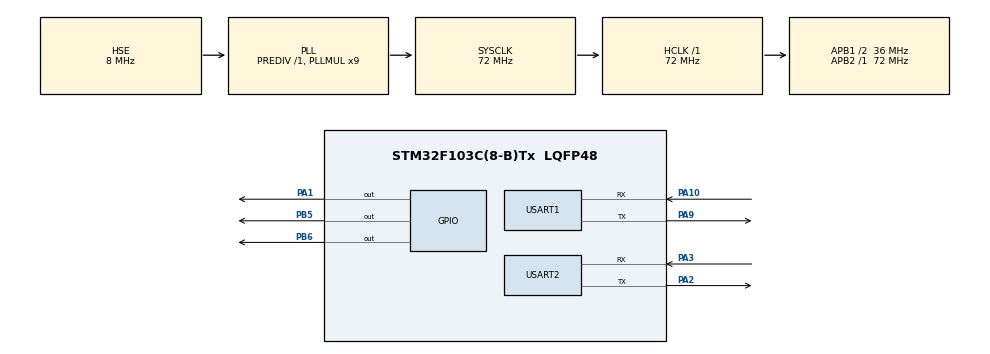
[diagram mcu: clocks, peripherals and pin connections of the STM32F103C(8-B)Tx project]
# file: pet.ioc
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Mcu.Family=STM32F1
Mcu.Name=STM32F103C(8-B)Tx
Mcu.Package=LQFP48
NVIC.PriorityGroup=NVIC_PRIORITYGROUP_4
PA1.PinState=GPIO_PIN_SET
PA1.Signal=GPIO_Output
PA10.Mode=Asynchronous
PA10.Signal=USART1_RX
PA13.Mode=Serial_Wire
PA13.Signal=SYS_JTMS-SWDIO
PA14.Mode=Serial_Wire
PA14.Signal=SYS_JTCK-SWCLK
PA2.Mode=Asynchronous
PA2.Signal=USART2_TX
PA3.Mode=Asynchronous
PA3.Signal=USART2_RX
PA9.Mode=Asynchronous
PA9.Signal=USART1_TX
PB5.GPIO_ModeDefaultOutputPP=GPIO_MODE_OUTPUT_OD
PB5.GPIO_PuPd=GPIO_PULLUP
PB5.GPIO_Speed=GPIO_SPEED_FREQ_MEDIUM
PB5.PinState=GPIO_PIN_SET
PB5.Signal=GPIO_Output
PB6.GPIO_ModeDefaultOutputPP=GPIO_MODE_OUTPUT_OD
PB6.GPIO_PuPd=GPIO_PULLUP
PB6.GPIO_Speed=GPIO_SPEED_FREQ_MEDIUM
PB6.PinState=GPIO_PIN_SET
PB6.Signal=GPIO_Output
PD0-OSC_IN.Mode=HSE-External-Oscillator
PD0-OSC_IN.Signal=RCC_OSC_IN
PD1-OSC_OUT.Mode=HSE-External-Oscillator
PD1-OSC_OUT.Signal=RCC_OSC_OUT
ProjectManager.HeapSize=0x200
ProjectManager.StackSize=0x400
ProjectManager.TargetToolchain=MDK-ARM V5.32
RCC.AHBFreq_Value=72000000
RCC.APB1CLKDivider=RCC_HCLK_DIV2
RCC.APB1Freq_Value=36000000
RCC.APB1TimFreq_Value=72000000
RCC.APB2Freq_Value=72000000
RCC.APB2TimFreq_Value=72000000
RCC.HCLKFreq_Value=72000000
RCC.PLLMUL=RCC_PLL_MUL9
RCC.PLLSourceVirtual=RCC_PLLSOURCE_HSE
RCC.SYSCLKFreq_VALUE=72000000
RCC.SYSCLKSource=RCC_SYSCLKSOURCE_PLLCLK
RCC.USBFreq_Value=72000000
TIM2.Prescaler=72-1
USART1.VirtualMode=VM_ASYNC
USART2.VirtualMode=VM_ASYNC
VP_TIM2_VS_ClockSourceINT.Mode=Internal
board=custom

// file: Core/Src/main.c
/* USER CODE BEGIN Header */
/**
  ******************************************************************************
  * @file           : main.c
  * @brief          : Main program body
  ******************************************************************************
  * @attention
  *
  * Copyright (c) 2026 STMicroelectronics.
  * All rights reserved.
  *
  * This software is licensed under terms that can be found in the LICENSE file
  * in the root directory of this software component.
  * If no LICENSE file comes with this software, it is provided AS-IS.
  *
  ******************************************************************************
  */
/* USER CODE END Header */
#include "main.h"
#include "tim.h"
#include "usart.h"
#include "gpio.h"

/* USER CODE BEGIN Includes */
#include "dht11.h"
#include "oled.h"
#include <stdio.h>
/* USER CODE END Includes */

void SystemClock_Config(void);

int main(void)
{

  /* USER CODE BEGIN 1 */
  uint8_t oled_ready;
  /* USER CODE END 1 */

  /* MCU Configuration--------------------------------------------------------*/

  /* Reset of all peripherals, Initializes the Flash interface and the Systick. */
  HAL_Init();

  /* Configure the system clock */
  SystemClock_Config();

  /* Initialize all configured peripherals */
  MX_GPIO_Init();
  MX_USART1_UART_Init();
  MX_TIM2_Init();
  MX_USART2_UART_Init();
  /* USER CODE BEGIN 2 */
  HAL_TIM_Base_Start(&htim2);
  oled_ready = OLED_Init();
  HAL_Delay(2000); // Wait for DHT11 to stabilize
  /* USER CODE END 2 */

  /* Infinite loop */
  while (1)
  {

    /* USER CODE BEGIN 3 */
    uint8_t temperature = 0;
    uint8_t humidity = 0;
    uint8_t valid;
    char msg[32];
    int len;

    valid = DHT11_READ(&temperature, &humidity);
    if(valid == 1)
    {
        len = snprintf(msg, sizeof(msg), "d:%u,%u\r\n",(unsigned int) temperature,(unsigned int) humidity);
        HAL_UART_Transmit(&huart2,(uint8_t*)msg, (uint16_t)len, 100);
    }
    else
    {
        uint8_t error_msg[] = "DHT11 Read Error\r\n";

        HAL_UART_Transmit(&huart2, error_msg, sizeof(error_msg) - 1, 100);
    }

    if (!oled_ready) oled_ready = OLED_Init();
    if (oled_ready)
        oled_ready = OLED_ShowReadings(temperature, humidity, valid);
    if (!oled_ready)
    {
        uint8_t oled_error[] = "OLED I2C Error\r\n";
        HAL_UART_Transmit(&huart2, oled_error, sizeof(oled_error) - 1, 100);
    }
    HAL_Delay(2000);
  }
  /* USER CODE END 3 */
}

void SystemClock_Config(void)
{
  RCC_OscInitTypeDef RCC_OscInitStruct = {0};
  RCC_ClkInitTypeDef RCC_ClkInitStruct = {0};

  /** Initializes the RCC Oscillators according to the specified parameters
  * in the RCC_OscInitTypeDef structure.
  */
  RCC_OscInitStruct.OscillatorType = RCC_OSCILLATORTYPE_HSE;
  RCC_OscInitStruct.HSEState = RCC_HSE_ON;
  RCC_OscInitStruct.HSEPredivValue = RCC_HSE_PREDIV_DIV1;
  RCC_OscInitStruct.HSIState = RCC_HSI_ON;
  RCC_OscInitStruct.PLL.PLLState = RCC_PLL_ON;
  RCC_OscInitStruct.PLL.PLLSource = RCC_PLLSOURCE_HSE;
  RCC_OscInitStruct.PLL.PLLMUL = RCC_PLL_MUL9;
  if (HAL_RCC_OscConfig(&RCC_OscInitStruct) != HAL_OK)
  {
    Error_Handler();
  }

  /** Initializes the CPU, AHB and APB buses clocks
  */
  RCC_ClkInitStruct.ClockType = RCC_CLOCKTYPE_HCLK|RCC_CLOCKTYPE_SYSCLK
                              |RCC_CLOCKTYPE_PCLK1|RCC_CLOCKTYPE_PCLK2;
  RCC_ClkInitStruct.SYSCLKSource = RCC_SYSCLKSOURCE_PLLCLK;
  RCC_ClkInitStruct.AHBCLKDivider = RCC_SYSCLK_DIV1;
  RCC_ClkInitStruct.APB1CLKDivider = RCC_HCLK_DIV2;
  RCC_ClkInitStruct.APB2CLKDivider = RCC_HCLK_DIV1;

  if (HAL_RCC_ClockConfig(&RCC_ClkInitStruct, FLASH_LATENCY_2) != HAL_OK)
  {
    Error_Handler();
  }
}

void Error_Handler(void)
{
  __disable_irq();
  while (1)
  {
  }
}
